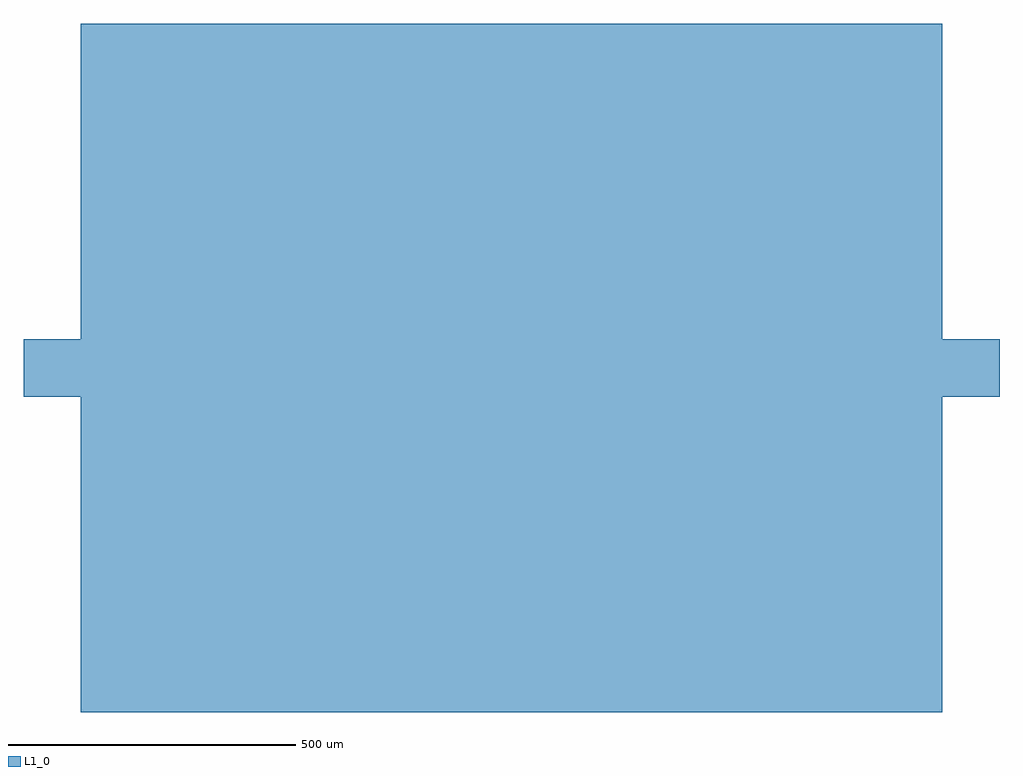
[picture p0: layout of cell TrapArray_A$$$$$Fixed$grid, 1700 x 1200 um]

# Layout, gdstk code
import gdstk
lib = gdstk.Library(unit=1e-6, precision=1e-09)
def R(c, l, rs):  # rectangles x0, y0, x1, y1
    for r in rs: c.add(gdstk.rectangle(r[:2], r[2:], *l))
def A(c, l, x, y, w, h, nx, ny, dx, dy):  # array of equal rectangles
    R(c, l, [(x+i*dx, y+j*dy, x+i*dx+w, y+j*dy+h) for i in range(nx) for j in range(ny)])
L1_0 = (1, 0)

traparray_a_____fixed_gr = lib.new_cell('TrapArray_A$$$$$Fixed$grid')
A(traparray_a_____fixed_gr, L1_0, 615, 360, 30, 3, 7, 2, 40, 22)
A(traparray_a_____fixed_gr, L1_0, 615, 363, 4, 5.5, 7, 2, 40, 13.5)
A(traparray_a_____fixed_gr, L1_0, 635, 395, 30, 3, 7, 2, 40, 22)
A(traparray_a_____fixed_gr, L1_0, 635, 398, 4, 5.5, 7, 2, 40, 13.5)
A(traparray_a_____fixed_gr, L1_0, 615, 430, 30, 3, 7, 2, 40, 22)
A(traparray_a_____fixed_gr, L1_0, 615, 433, 4, 5.5, 7, 2, 40, 13.5)
A(traparray_a_____fixed_gr, L1_0, 635, 465, 30, 3, 7, 2, 40, 22)
A(traparray_a_____fixed_gr, L1_0, 635, 468, 4, 5.5, 7, 2, 40, 13.5)
A(traparray_a_____fixed_gr, L1_0, 615, 500, 30, 3, 7, 2, 40, 22)
A(traparray_a_____fixed_gr, L1_0, 615, 503, 4, 5.5, 7, 2, 40, 13.5)
A(traparray_a_____fixed_gr, L1_0, 635, 535, 30, 3, 7, 2, 40, 22)
A(traparray_a_____fixed_gr, L1_0, 635, 538, 4, 5.5, 7, 2, 40, 13.5)
A(traparray_a_____fixed_gr, L1_0, 615, 570, 30, 3, 7, 2, 40, 22)
A(traparray_a_____fixed_gr, L1_0, 615, 573, 4, 5.5, 7, 2, 40, 13.5)
A(traparray_a_____fixed_gr, L1_0, 635, 605, 30, 3, 7, 2, 40, 22)
A(traparray_a_____fixed_gr, L1_0, 635, 608, 4, 5.5, 7, 2, 40, 13.5)
A(traparray_a_____fixed_gr, L1_0, 615, 640, 30, 3, 7, 2, 40, 22)
A(traparray_a_____fixed_gr, L1_0, 615, 643, 4, 5.5, 7, 2, 40, 13.5)
A(traparray_a_____fixed_gr, L1_0, 635, 675, 30, 3, 7, 2, 40, 22)
A(traparray_a_____fixed_gr, L1_0, 635, 678, 4, 5.5, 7, 2, 40, 13.5)
A(traparray_a_____fixed_gr, L1_0, 615, 710, 30, 3, 7, 2, 40, 22)
A(traparray_a_____fixed_gr, L1_0, 615, 713, 4, 5.5, 7, 2, 40, 13.5)
A(traparray_a_____fixed_gr, L1_0, 635, 745, 30, 3, 7, 2, 40, 22)
A(traparray_a_____fixed_gr, L1_0, 635, 748, 4, 5.5, 7, 2, 40, 13.5)
A(traparray_a_____fixed_gr, L1_0, 615, 780, 30, 3, 7, 2, 40, 22)
A(traparray_a_____fixed_gr, L1_0, 615, 783, 4, 5.5, 7, 2, 40, 13.5)
A(traparray_a_____fixed_gr, L1_0, 635, 815, 30, 3, 7, 2, 40, 22)
A(traparray_a_____fixed_gr, L1_0, 635, 818, 4, 5.5, 7, 2, 40, 13.5)
R(traparray_a_____fixed_gr, L1_0, [(0,0,1500,1200), (-100,550,0,650), (1500,550,1600,650)])

lib.write_gds('TrapArray_A_____Fixed_grid.gds')
